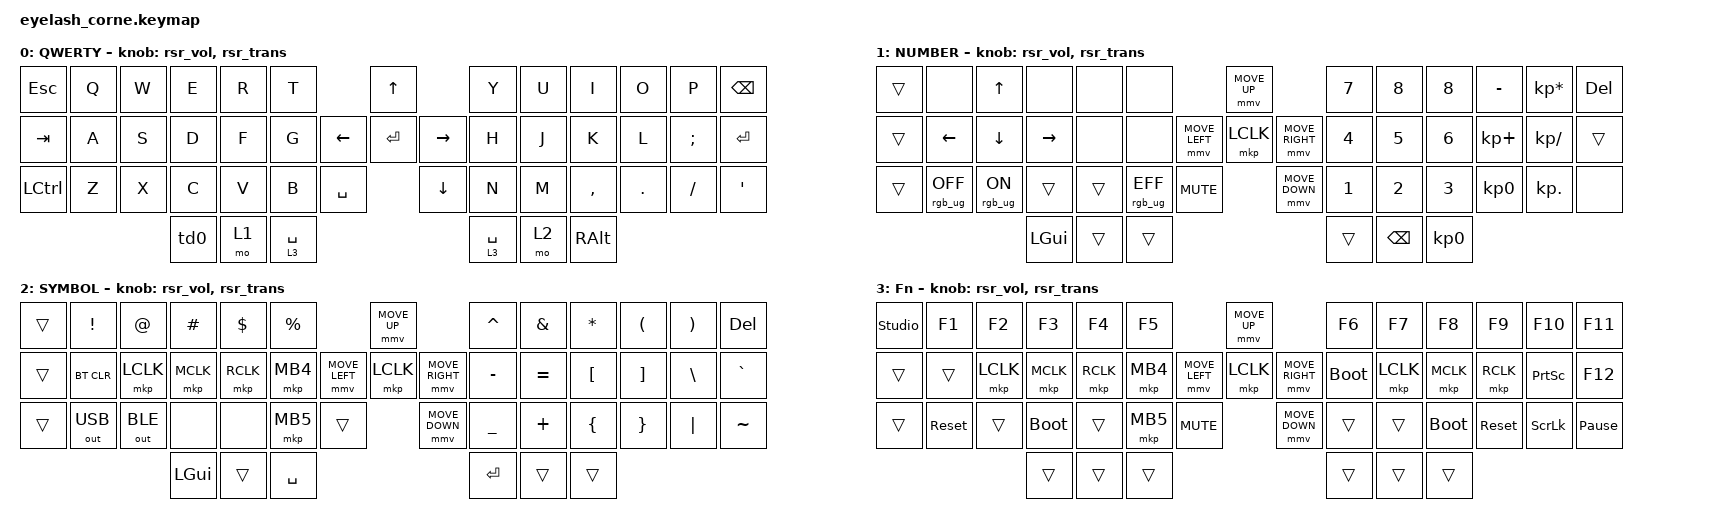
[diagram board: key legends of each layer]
#define ZMK_POINTING_DEFAULT_MOVE_VAL 1200  // 600
#define ZMK_POINTING_DEFAULT_SCRL_VAL 25   // 10

#include <input/processors.dtsi>
#include <zephyr/dt-bindings/input/input-event-codes.h>
#include <behaviors/runtime-sensor-rotate.dtsi>
#include <behaviors.dtsi>
#include <dt-bindings/zmk/bt.h>
#include <dt-bindings/zmk/keys.h>
#include <dt-bindings/zmk/outputs.h>
#include <dt-bindings/zmk/pointing.h>
#include <dt-bindings/zmk/rgb.h>

&soft_off { hold-time-ms = <2000>; };

/ {
    behaviors {
        td0: td0 {
            compatible = "zmk,behavior-tap-dance";
            display-name = "Shift/Caps Lock Tap Dance";
            #binding-cells = <0>;
            bindings = <&kp LEFT_SHIFT>, <&kp CAPS>;
        };

        rsr_vol: rsr_vol {
            compatible = "zmk,behavior-runtime-sensor-rotate";
            #sensor-binding-cells = <0>;
            tap-ms = <5>;
            cw-binding = <&kp C_VOL_UP>;
            ccw-binding = <&kp C_VOL_DN>;
        };

        rsr_trans: rsr_trans {
            compatible = "zmk,behavior-runtime-sensor-rotate";
            #sensor-binding-cells = <0>;
            tap-ms = <0>;
        };
    };

    combos {
        compatible = "zmk,combos";

        softoff {
            bindings = <&soft_off>;
            key-positions = <1 15 29>;
        };
    };

    keymap {
        compatible = "zmk,keymap";

        default_layer {
            display-name = "QWERTY";
            bindings = <
&kp ESC    &kp Q  &kp W  &kp E  &kp R  &kp T                               &kp UP                &kp Y        &kp U  &kp I      &kp O    &kp P     &kp BSPC
&kp TAB    &kp A  &kp S  &kp D  &kp F  &kp G                     &kp LEFT  &kp ENTER  &kp RIGHT  &kp H        &kp J  &kp K      &kp L    &kp SEMI  &kp ENTER
&kp LCTRL  &kp Z  &kp X  &kp C  &kp V  &kp B        &kp SPACE              &kp DOWN              &kp N        &kp M  &kp COMMA  &kp DOT  &kp FSLH  &kp APOSTROPHE
                         &td0   &mo 1  &lt 3 SPACE                                               &lt 3 SPACE  &mo 2  &kp RALT
            >;

            sensor-bindings = <&rsr_vol &rsr_trans>;
        };

        lower_layer {
            display-name = "NUMBER";
            bindings = <
&trans  &none            &kp UP_ARROW    &none            &none   &none                                          &mmv MOVE_UP                     &kp NUMBER_7  &kp N8         &kp N8           &kp MINUS        &kp KP_MULTIPLY  &kp DEL
&trans  &kp LEFT_ARROW   &kp DOWN_ARROW  &kp RIGHT_ARROW  &none   &none                          &mmv MOVE_LEFT  &mkp LCLK       &mmv MOVE_RIGHT  &kp N4        &kp N5         &kp NUMBER_6     &kp KP_PLUS      &kp KP_DIVIDE    &trans
&trans  &rgb_ug RGB_OFF  &rgb_ug RGB_ON  &trans           &trans  &rgb_ug RGB_EFF  &kp C_MUTE                    &mmv MOVE_DOWN                   &kp N1        &kp N2         &kp N3           &kp KP_NUMBER_0  &kp KP_DOT       &none
                                         &kp LEFT_GUI     &trans  &trans                                                                          &trans        &kp BACKSPACE  &kp KP_NUMBER_0
            >;

            sensor-bindings = <&rsr_vol &rsr_trans>;
        };

        raise_layer {
            display-name = "SYMBOL";
            bindings = <
&trans  &kp EXCL      &kp AT        &kp HASH      &kp DLLR   &kp PRCNT                            &mmv MOVE_UP                     &kp CARET  &kp AMPS   &kp ASTRK  &kp LPAR  &kp RPAR  &kp DEL
&trans  &bt BT_CLR    &mkp LCLK     &mkp MCLK     &mkp RCLK  &mkp MB4             &mmv MOVE_LEFT  &mkp LCLK       &mmv MOVE_RIGHT  &kp MINUS  &kp EQUAL  &kp LBKT   &kp RBKT  &kp BSLH  &kp GRAVE
&trans  &out OUT_USB  &out OUT_BLE  &none         &none      &mkp MB5   &trans                    &mmv MOVE_DOWN                   &kp UNDER  &kp PLUS   &kp LBRC   &kp RBRC  &kp PIPE  &kp TILDE
                                    &kp LEFT_GUI  &trans     &kp SPACE                                                             &kp RET    &trans     &trans
            >;

            sensor-bindings = <&rsr_vol &rsr_trans>;
        };

        layer_3 {
            display-name = "Fn";
            bindings = <
&studio_unlock  &kp F1      &kp F2     &kp F3       &kp F4     &kp F5                                  &mmv MOVE_UP                     &kp F6       &kp F7     &kp F8       &kp F9      &kp F10          &kp F11
&trans          &trans      &mkp LCLK  &mkp MCLK    &mkp RCLK  &mkp MB4                &mmv MOVE_LEFT  &mkp LCLK       &mmv MOVE_RIGHT  &bootloader  &mkp LCLK  &mkp MCLK    &mkp RCLK   &kp PRINTSCREEN  &kp F12
&trans          &sys_reset  &trans     &bootloader  &trans     &mkp MB5  &kp C_MUTE                    &mmv MOVE_DOWN                   &trans       &trans     &bootloader  &sys_reset  &kp SCROLLLOCK   &kp PAUSE_BREAK
                                       &trans       &trans     &trans                                                                   &trans       &trans     &trans
            >;

            sensor-bindings = <&rsr_vol &rsr_trans>;
        };
    };
};
